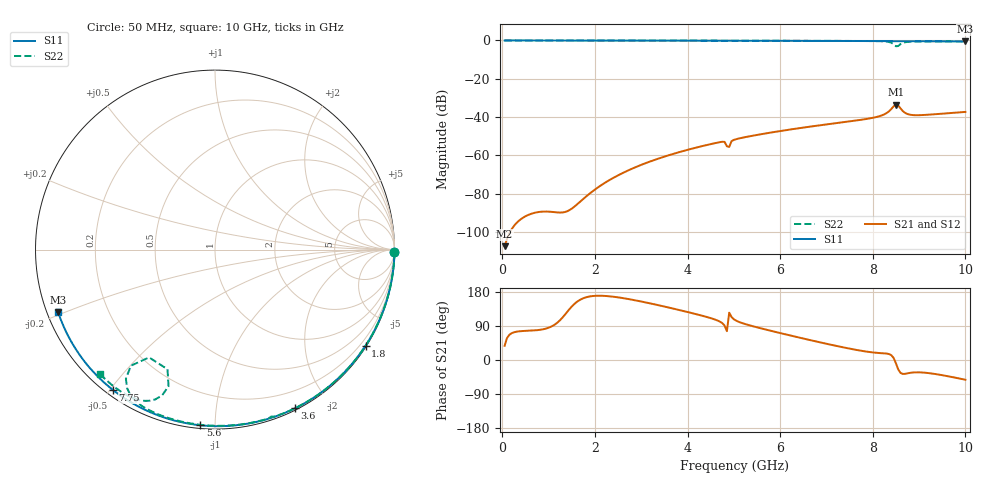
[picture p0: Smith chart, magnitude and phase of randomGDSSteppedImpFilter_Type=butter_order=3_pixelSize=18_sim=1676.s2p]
! freq	dB(S11)	phase(S11)	dB(S12)	phase(S12)
!  dB(S21)	phase(S21)	dB(S22)	phase(S22)
!S-par simulation data
#  GHz  S  DB  R 50
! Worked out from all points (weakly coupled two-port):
!   200 points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, 50 MHz to 10 GHz, reference 50 ohm
!   highest |S21| = -33.48 dB at 8.5 GHz (marker M1); lowest = -107.5 dB at 50 MHz (marker M2)
!   lowest |S11| = -0.5 dB at 10 GHz (marker M3), VSWR 32.88, Z = 1.58 - j9.6 ohm
!   |S11| at or under -10 dB: nowhere
!   |S22| runs from -3.0 to 0.0 dB; largest |S21 - S12| = 0
!   S11 on the Smith chart (normalised r, x): 50 MHz: open; 1.8 GHz: 0.03, -3.43; 3.6 GHz: 0.02, -1.62; 5.6 GHz: 0.02, -0.92; 7.75 GHz: 0.02, -0.51; 10 GHz: 0.03, -0.19
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0.05  -0.00 -0.9  -107.48 37.4  -107.48 37.4  -0.00 -0.8
1.75  -0.04 -31.6  -82.77 163.0  -82.77 163.0  -0.03 -26.7
1.8  -0.04 -32.5  -81.73 165.1  -81.73 165.1  -0.03 -27.5
1.9  -0.04 -34.3  -79.75 168.0  -79.75 168.0  -0.04 -29.0
2.65  -0.06 -47.3  -68.67 162.4  -68.67 162.4  -0.05 -40.1
3.4  -0.08 -60.0  -61.48 143.8  -61.48 143.8  -0.07 -50.9
3.6  -0.09 -63.3  -59.93 138.3  -59.93 138.3  -0.07 -53.8
4.75  -0.12 -81.7  -52.94 97.5  -52.94 97.5  -0.11 -69.8
4.9  -0.13 -84.1  -55.62 124.9  -55.62 124.9  -0.16 -71.5
4.95  -0.13 -84.8  -52.63 113.5  -52.63 113.5  -0.12 -72.2
5.05  -0.13 -86.4  -51.57 103.9  -51.57 103.9  -0.12 -73.6
5.6  -0.16 -94.8  -48.93 83.1  -48.93 83.1  -0.13 -81.0
6.7  -0.22 -111.0  -44.84 51.0  -44.84 51.0  -0.18 -95.3
7.75  -0.29 -126.1  -41.44 24.4  -41.44 24.4  -0.26 -109.3
8.15  -0.33 -131.7  -39.52 18.3  -39.52 18.3  -0.37 -116.3
8.35  -0.34 -134.6  -37.01 15.8  -37.01 15.8  -0.78 -122.4
8.45  -0.35 -136.0  -34.43 5.4  -34.43 5.4  -1.96 -125.9
8.5  -0.36 -136.7  -33.48 -8.7  -33.48 -8.7  -3.05 -121.4
8.6  -0.37 -138.1  -35.53 -34.2  -35.53 -34.2  -1.90 -108.8
8.7  -0.38 -139.5  -37.87 -36.4  -37.87 -36.4  -0.94 -111.7
8.85  -0.39 -141.7  -38.95 -33.2  -38.95 -33.2  -0.59 -115.9
10  -0.53 -158.2  -37.33 -52.1  -37.33 -52.1  -0.50 -132.7
